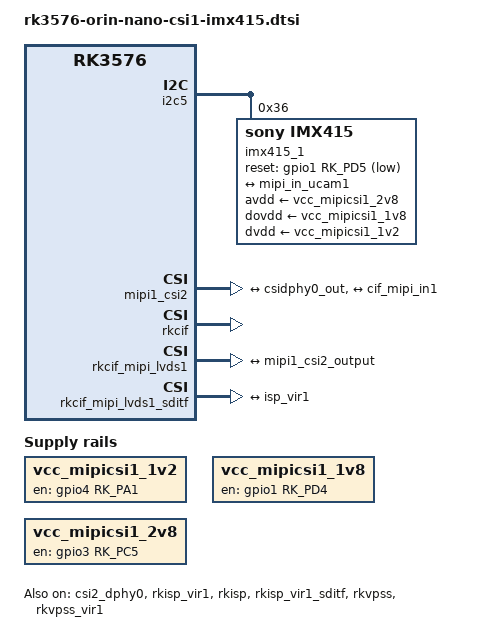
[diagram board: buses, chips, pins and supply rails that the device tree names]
// SPDX-License-Identifier: (GPL-2.0+ OR MIT)
/*
 * Guangzhou Easy EAl Technology Co., Ltd.
 *
 */

/ {
	vcc_mipicsi1_1v2: vcc-mipicsi1-1v2 {
		compatible = "regulator-fixed";
		gpio = <&gpio4 RK_PA1 GPIO_ACTIVE_HIGH>;
		pinctrl-names = "default";
		pinctrl-0 = <&mipicsi1_pwr_1V2>;
		regulator-name = "vcc_mipicsi1_1v2";
		enable-active-high;
	};
	
	vcc_mipicsi1_1v8: vcc-mipicsi1-1v8 {
		compatible = "regulator-fixed";
		gpio = <&gpio1 RK_PD4 GPIO_ACTIVE_HIGH>;
		pinctrl-names = "default";
		pinctrl-0 = <&mipicsi1_pwr_1V8>;
		regulator-name = "vcc_mipicsi1_1v8";
		enable-active-high;
	};

	vcc_mipicsi1_2v8: vcc-mipicsi1-2v8 {
		compatible = "regulator-fixed";
		gpio = <&gpio3 RK_PC5 GPIO_ACTIVE_HIGH>;
		pinctrl-names = "default";
		pinctrl-0 = <&mipicsi1_pwr_2V8>;
		regulator-name = "vcc_mipicsi1_2v8";
		enable-active-high;
	};
};

&i2c5 {
	status = "okay";
	pinctrl-0 = <&i2c5m3_xfer>;

	imx415_1: imx415@36 {
		compatible = "sony,imx415";
		reg = <0x36>;
		clocks = <&cru CLK_MIPI_CAMERAOUT_M1>;
		clock-names = "xvclk";
		pinctrl-names = "default";
		pinctrl-0 = <&cam_clk1m0_clk1 &csi1_rst &csi1_pwdn>;
		power-domains = <&power RK3576_PD_VI>;
		reset-gpios = <&gpio1 RK_PD5 GPIO_ACTIVE_LOW>;
		avdd-supply = <&vcc_mipicsi1_2v8>;
		dovdd-supply = <&vcc_mipicsi1_1v8>;
		dvdd-supply = <&vcc_mipicsi1_1v2>;
		rockchip,camera-module-index = <1>;
		rockchip,camera-module-facing = "back";
		rockchip,camera-module-name = "CMK-OT2022-PX1";
		rockchip,camera-module-lens-name = "IR0147-50IRC-8M-F20";
		port {
			imx415_out1: endpoint {
				remote-endpoint = <&mipi_in_ucam1>;
				data-lanes = <1 2 3 4>;
			};
		};
	};
};

&csi2_dphy0 {
	status = "okay";

	ports {
		#address-cells = <1>;
		#size-cells = <0>;
		port@0 {
			reg = <0>;
			#address-cells = <1>;
			#size-cells = <0>;

			mipi_in_ucam1: endpoint@1 {
				reg = <1>;
				remote-endpoint = <&imx415_out1>;
				data-lanes = <1 2 3 4>;
			};
		};
		port@1 {
			reg = <1>;
			#address-cells = <1>;
			#size-cells = <0>;

			csidphy0_out: endpoint@0 {
				reg = <0>;
				remote-endpoint = <&mipi1_csi2_input>;
			};
		};
	};
};

&mipi1_csi2 {
	status = "okay";

	ports {
		#address-cells = <1>;
		#size-cells = <0>;

		port@0 {
			reg = <0>;
			#address-cells = <1>;
			#size-cells = <0>;

			mipi1_csi2_input: endpoint@1 {
				reg = <1>;
				remote-endpoint = <&csidphy0_out>;
			};
		};

		port@1 {
			reg = <1>;
			#address-cells = <1>;
			#size-cells = <0>;

			mipi1_csi2_output: endpoint@0 {
				reg = <0>;
				remote-endpoint = <&cif_mipi_in1>;
			};
		};
	};
};

&rkcif {
	status = "okay";
};

&rkcif_mipi_lvds1 {
	status = "okay";

	port {
		cif_mipi_in1: endpoint {
		remote-endpoint = <&mipi1_csi2_output>;
		};
	};
};

&rkcif_mipi_lvds1_sditf {
	status = "okay";

	port {
       		mipi_lvds1_sditf: endpoint {
		remote-endpoint = <&isp_vir1>;
		};
	};
};

&rkisp_vir1 {
	status = "okay";

	port {
		#address-cells = <1>;
		#size-cells = <0>;

        	isp_vir1: endpoint@0 {
			reg = <0>;
			remote-endpoint = <&mipi_lvds1_sditf>;
		};
	};
};

&rkcif_mmu {
	status = "okay";
};

&rkisp {
	status = "okay";
};

&rkisp_mmu {
	status = "okay";
};

&rkisp_vir1_sditf {
	status = "okay";
};

&rkvpss {
	status = "okay";
};

&rkvpss_mmu {
	status = "okay";
};

&rkvpss_vir1 {
	status = "okay";
};

&pinctrl {
	camera {
		mipicsi1_pwr_1V2: mipicsi1-pwr-1V2 {
			rockchip,pins = <4 RK_PA1 RK_FUNC_GPIO &pcfg_pull_up>;
		};
		mipicsi1_pwr_1V8: mipicsi1-pwr-1V8 {
			rockchip,pins = <1 RK_PD4 RK_FUNC_GPIO &pcfg_pull_up>;
		};
		mipicsi1_pwr_2V8: mipicsi1-pwr-2V8 {
			rockchip,pins = <3 RK_PC5 RK_FUNC_GPIO &pcfg_pull_up>;
		};
		csi1_rst: csi1-rst {
			rockchip,pins = <1 RK_PD5 RK_FUNC_GPIO &pcfg_pull_up>;
		};
		csi1_pwdn: csi1-pwdn {
			rockchip,pins = <3 RK_PB0 RK_FUNC_GPIO &pcfg_pull_up>;
		};
	};
};

